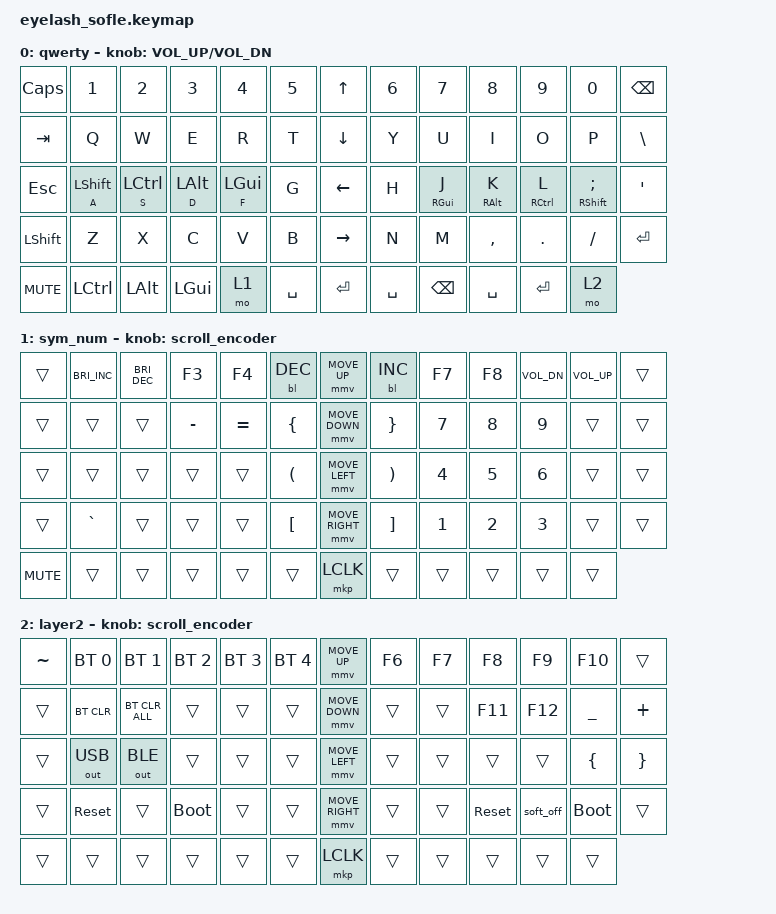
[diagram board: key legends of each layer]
#define ZMK_POINTING_DEFAULT_MOVE_VAL 1200  // 600
#define ZMK_POINTING_DEFAULT_SCRL_VAL 25   // 10

#include <input/processors.dtsi>
#include <zephyr/dt-bindings/input/input-event-codes.h>
#include <behaviors.dtsi>
#include <dt-bindings/zmk/backlight.h>
#include <dt-bindings/zmk/bt.h>
#include <dt-bindings/zmk/keys.h>
#include <dt-bindings/zmk/outputs.h>
#include <dt-bindings/zmk/pointing.h>

&mmv_input_listener { input-processors = <&zip_xy_scaler 2 1>; };

&msc_input_listener { input-processors = <&zip_scroll_scaler 2 1>; };

&msc {
    acceleration-exponent = <1>;      // 0
    time-to-max-speed-ms = <100>;       // 300
    delay-ms = <0>;                   // 0
};

&mmv {
    time-to-max-speed-ms = <500>;
    acceleration-exponent = <1>;
    trigger-period-ms = <16>;
};

&soft_off { hold-time-ms = <2000>; };

/ {
    scroll_encoder: scroll_encoder {
        compatible = "zmk,behavior-sensor-rotate";
        #sensor-binding-cells = <0>;
        bindings = <&msc SCRL_DOWN>, <&msc SCRL_UP>;

        tap-ms = <100>;
    };


    behaviors {
        hml: hml {
            compatible = "zmk,behavior-hold-tap";
            label = "HML";
            bindings = <&kp>, <&kp>;

            #binding-cells = <2>;
            flavor = "balanced";
            require-prior-idle-ms = <150>;
            quick-tap-ms = <175>;
            tapping-term-ms = <280>;
            hold-trigger-on-release;
            hold-trigger-key-positions = <7 8 9 10 11 12 20 21 22 23 24 25 33 34 35 36 37 38 46 47 48 49 50 51 60 61 62 63 59>;
        };

        hmr: hmr {
            compatible = "zmk,behavior-hold-tap";
            label = "HMR";
            bindings = <&kp>, <&kp>;

            #binding-cells = <2>;
            flavor = "balanced";
            require-prior-idle-ms = <150>;
            quick-tap-ms = <175>;
            tapping-term-ms = <280>;
            hold-trigger-on-release;
            hold-trigger-key-positions = <0 1 2 3 4 5 13 14 15 16 17 18 26 27 28 29 30 31 39 40 41 42 43 44 53 54 55 56 57>;
        };
    };

    combos {
        compatible = "zmk,combos";

        softoff {
            bindings = <&soft_off>;
            key-positions = <14 28 40>;
        };
    };

    keymap {
        compatible = "zmk,keymap";

        qwerty {
            bindings = <
&kp CAPS    &kp N1        &kp N2        &kp N3       &kp N4       &kp N5       &kp UP_ARROW     &kp N6     &kp N7         &kp N8       &kp N9        &kp N0           &kp BACKSPACE
&kp TAB     &kp Q         &kp W         &kp E        &kp R        &kp T        &kp DOWN_ARROW   &kp Y      &kp U          &kp I        &kp O         &kp P            &kp BSLH
&kp ESC     &hml A LSHFT  &hml S LCTRL  &hml D LALT  &hml F LGUI  &kp G        &kp LEFT_ARROW   &kp H      &hmr RGUI J    &hmr RALT K  &hmr RCTRL L  &hmr RSHFT SEMI  &kp APOS
&kp LSHFT   &kp Z         &kp X         &kp C        &kp V        &kp B        &kp RIGHT_ARROW  &kp N      &kp M          &kp COMMA    &kp DOT       &kp FSLH         &kp ENTER
&kp C_MUTE  &kp LCTRL     &kp LALT      &kp LGUI     &mo 1        &kp SPACE    &kp ENTER        &kp SPACE  &kp BACKSPACE  &kp SPACE    &kp ENTER     &mo 2
            >;

            sensor-bindings = <&inc_dec_kp C_VOLUME_UP C_VOL_DN>;
            display-name = "qwerty";
        };

        sym_num {
            bindings = <
&trans      &kp C_BRIGHTNESS_INC  &kp C_BRIGHTNESS_DEC  &kp F3     &kp F4     &bl BL_DEC              &mmv MOVE_UP     &bl BL_INC             &kp F7  &kp F8  &kp C_VOL_DN  &kp C_VOL_UP  &trans
&trans      &trans                &trans                &kp MINUS  &kp EQUAL  &kp LEFT_BRACE          &mmv MOVE_DOWN   &kp RIGHT_BRACE        &kp N7  &kp N8  &kp N9        &trans        &trans
&trans      &trans                &trans                &trans     &trans     &kp LEFT_PARENTHESIS    &mmv MOVE_LEFT   &kp RIGHT_PARENTHESIS  &kp N4  &kp N5  &kp N6        &trans        &trans
&trans      &kp GRAVE             &trans                &trans     &trans     &kp LEFT_BRACKET        &mmv MOVE_RIGHT  &kp RIGHT_BRACKET      &kp N1  &kp N2  &kp N3        &trans        &trans
&kp C_MUTE  &trans                &trans                &trans     &trans     &trans                  &mkp LCLK        &trans                 &trans  &trans  &trans        &trans
            >;

            display-name = "sym_num";
            sensor-bindings = <&scroll_encoder>;
        };

        layer_2 {
            bindings = <
&kp TILDE  &bt BT_SEL 0  &bt BT_SEL 1    &bt BT_SEL 2  &bt BT_SEL 3  &bt BT_SEL 4    &mmv MOVE_UP     &kp F6  &kp F7  &kp F8      &kp F9     &kp F10      &trans
&trans     &bt BT_CLR    &bt BT_CLR_ALL  &trans        &trans        &trans          &mmv MOVE_DOWN   &trans  &trans  &kp F11     &kp F12    &kp UNDER    &kp PLUS
&trans     &out OUT_USB  &out OUT_BLE    &trans        &trans        &trans          &mmv MOVE_LEFT   &trans  &trans  &trans      &trans     &kp LBRC     &kp RBRC
&trans     &sys_reset    &trans          &bootloader   &trans        &trans          &mmv MOVE_RIGHT  &trans  &trans  &sys_reset  &soft_off  &bootloader  &trans
&trans     &trans        &trans          &trans        &trans        &trans          &mkp LCLK        &trans  &trans  &trans      &trans     &trans
            >;

            display-name = "layer2";
            sensor-bindings = <&scroll_encoder>;
        };
    };
};
